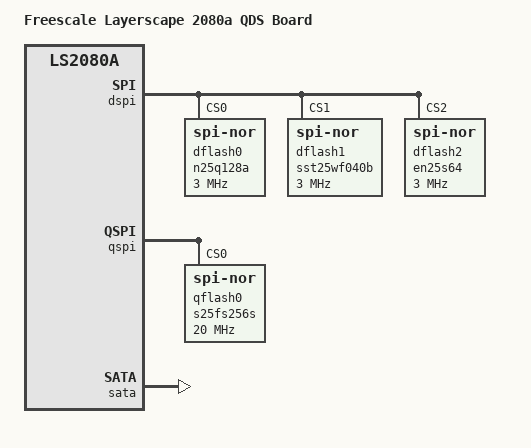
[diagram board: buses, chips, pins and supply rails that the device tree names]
// SPDX-License-Identifier: GPL-2.0+ OR X11
/*
 * Freescale ls2080a QDS board device tree source
 *
 * Copyright 2013-2015 Freescale Semiconductor, Inc.
 */

/dts-v1/;

#include "fsl-ls2080a.dtsi"

/ {
	model = "Freescale Layerscape 2080a QDS Board";
	compatible = "fsl,ls2080a-qds", "fsl,ls2080a";

	aliases {
		spi0 = &qspi;
		spi1 = &dspi;
	};
};

&dspi {
	bus-num = <0>;
	status = "okay";

	dflash0: n25q128a {
		#address-cells = <1>;
		#size-cells = <1>;
		compatible = "jedec,spi-nor";
		spi-max-frequency = <3000000>;
		spi-cpol;
		spi-cpha;
		reg = <0>;
	};
	dflash1: sst25wf040b {
		#address-cells = <1>;
		#size-cells = <1>;
		compatible = "jedec,spi-nor";
		spi-max-frequency = <3000000>;
		spi-cpol;
		spi-cpha;
		reg = <1>;
	};
	dflash2: en25s64 {
		#address-cells = <1>;
		#size-cells = <1>;
		compatible = "jedec,spi-nor";
		spi-max-frequency = <3000000>;
		spi-cpol;
		spi-cpha;
		reg = <2>;
	};
};

&qspi {
	bus-num = <0>;
	status = "okay";

	qflash0: s25fs256s@0 {
		#address-cells = <1>;
		#size-cells = <1>;
		compatible = "jedec,spi-nor";
		spi-max-frequency = <20000000>;
		reg = <0>;
	};
};

&sata {
	status = "okay";
};
